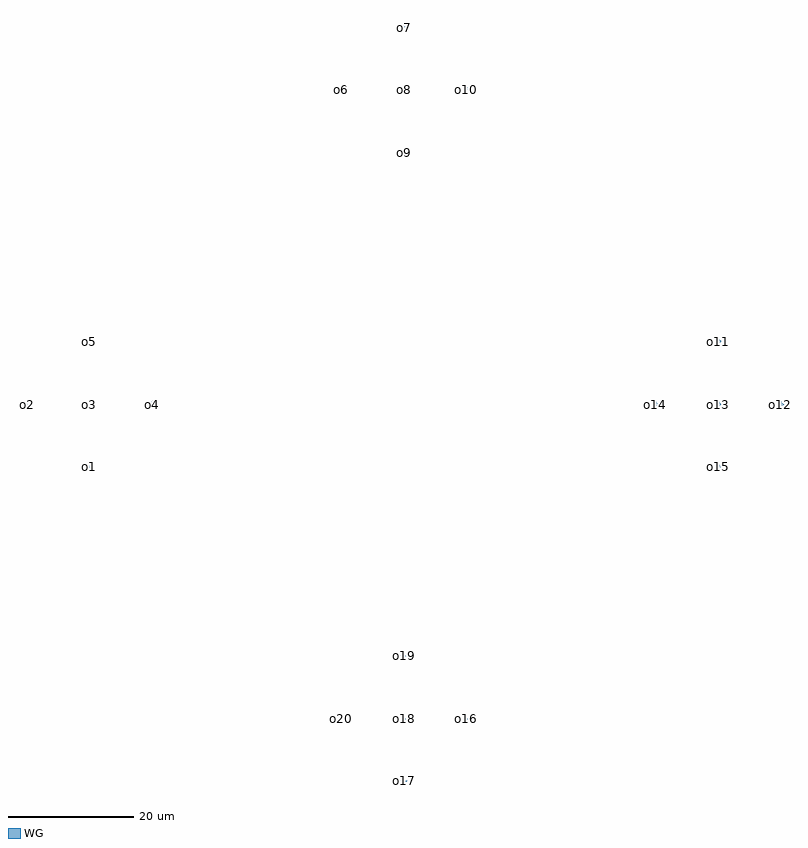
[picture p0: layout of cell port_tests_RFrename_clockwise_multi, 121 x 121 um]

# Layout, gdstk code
import gdstk
lib = gdstk.Library(unit=1e-6, precision=1e-09)
def P(c, l, *ps):  # polygons
    for p in ps: c.add(gdstk.Polygon(p, *l))
WG = (1, 0)

port_tests_rfrename_cloc = lib.new_cell('port_tests_RFrename_clockwise_multi')
P(port_tests_rfrename_cloc, WG, [(0,-60.5),(-0.45,-60.05),(-0.375,-60.05),(0,-60.43),(0,-60.05),(-0.45,-60.05),(-0.5,-60),(0.5,-60)],
  [(-10,-50.5),(-10.45,-50.05),(-10.375,-50.05),(-10,-50.43),(-10,-50.05),(-10.45,-50.05),(-10.5,-50),(-9.5,-50)],
  [(0,-50.5),(-0.45,-50.05),(-0.375,-50.05),(0,-50.43),(0,-50.05),(-0.45,-50.05),(-0.5,-50),(0.5,-50)],
  [(10,-50.5),(9.55,-50.05),(9.625,-50.05),(10,-50.43),(10,-50.05),(9.55,-50.05),(9.5,-50),(10.5,-50)],
  [(0,-40.5),(-0.45,-40.05),(-0.375,-40.05),(0,-40.43),(0,-40.05),(-0.45,-40.05),(-0.5,-40),(0.5,-40)],
  [(-50,-10.5),(-50.5,-10),(-50.125,-9.625),(-50.05,-9.625),(-50.43,-10),(-50.05,-10),(-50.05,-9.625),(-50.125,-9.625),(-50,-9.5)],
  [(-60,-0.5),(-60.5,0),(-60.125,0.375),(-60.05,0.375),(-60.43,0),(-60.05,0),(-60.05,0.375),(-60.125,0.375),(-60,0.5)],
  [(-50,-0.5),(-50.5,0),(-50.125,0.375),(-50.05,0.375),(-50.43,0),(-50.05,0),(-50.05,0.375),(-50.125,0.375),(-50,0.5)],
  [(-40,-0.5),(-40.5,0),(-40.125,0.375),(-40.05,0.375),(-40.43,0),(-40.05,0),(-40.05,0.375),(-40.125,0.375),(-40,0.5)],
  [(-50,9.5),(-50.5,10),(-50.125,10.375),(-50.05,10.375),(-50.43,10),(-50.05,10),(-50.05,10.375),(-50.125,10.375),(-50,10.5)],
  [(-0.5,40),(-0.07,40.43),(0,40.43),(0,40.05),(0.375,40.05),(0,40.43),(-0.07,40.43),(0,40.5),(0.5,40)],
  [(-10.5,50),(-10.07,50.43),(-10,50.43),(-10,50.05),(-9.625,50.05),(-10,50.43),(-10.07,50.43),(-10,50.5),(-9.5,50)],
  [(-0.5,50),(-0.07,50.43),(0,50.43),(0,50.05),(0.375,50.05),(0,50.43),(-0.07,50.43),(0,50.5),(0.5,50)],
  [(9.5,50),(9.93,50.43),(10,50.43),(10,50.05),(10.375,50.05),(10,50.43),(9.93,50.43),(10,50.5),(10.5,50)],
  [(-0.5,60),(-0.07,60.43),(0,60.43),(0,60.05),(0.375,60.05),(0,60.43),(-0.07,60.43),(0,60.5),(0.5,60)],
  [(50,-10.5),(50,-10),(50.05,-10),(50.05,-10.375),(50.43,-10),(50,-10),(50,-9.5),(50.5,-10)],
  [(40,-0.5),(40,0),(40.05,0),(40.05,-0.375),(40.43,0),(40,0),(40,0.5),(40.5,0)],
  [(50,-0.5),(50,0),(50.05,0),(50.05,-0.375),(50.43,0),(50,0),(50,0.5),(50.5,0)],
  [(60,-0.5),(60,0),(60.05,0),(60.05,-0.375),(60.43,0),(60,0),(60,0.5),(60.5,0)],
  [(50,9.5),(50,10),(50.05,10),(50.05,9.625),(50.43,10),(50,10),(50,10.5),(50.5,10)])
port_tests_rfrename_cloc.add(gdstk.Label('o17', (0,-60), layer=1, texttype=0))
port_tests_rfrename_cloc.add(gdstk.Label('o18', (0,-50), layer=1, texttype=0))
port_tests_rfrename_cloc.add(gdstk.Label('o19', (0,-40), layer=1, texttype=0))
port_tests_rfrename_cloc.add(gdstk.Label('o2', (-60,0), layer=1, texttype=0))
port_tests_rfrename_cloc.add(gdstk.Label('o1', (-50,-10), layer=1, texttype=0))
port_tests_rfrename_cloc.add(gdstk.Label('o14', (40,0), layer=1, texttype=0))
port_tests_rfrename_cloc.add(gdstk.Label('o15', (50,-10), layer=1, texttype=0))
port_tests_rfrename_cloc.add(gdstk.Label('o10', (10,50), layer=1, texttype=0))
port_tests_rfrename_cloc.add(gdstk.Label('o3', (-50,0), layer=1, texttype=0))
port_tests_rfrename_cloc.add(gdstk.Label('o9', (0,40), layer=1, texttype=0))
port_tests_rfrename_cloc.add(gdstk.Label('o13', (50,0), layer=1, texttype=0))
port_tests_rfrename_cloc.add(gdstk.Label('o11', (50,10), layer=1, texttype=0))
port_tests_rfrename_cloc.add(gdstk.Label('o12', (60,0), layer=1, texttype=0))
port_tests_rfrename_cloc.add(gdstk.Label('o16', (10,-50), layer=1, texttype=0))
port_tests_rfrename_cloc.add(gdstk.Label('o8', (0,50), layer=1, texttype=0))
port_tests_rfrename_cloc.add(gdstk.Label('o6', (-10,50), layer=1, texttype=0))
port_tests_rfrename_cloc.add(gdstk.Label('o7', (0,60), layer=1, texttype=0))
port_tests_rfrename_cloc.add(gdstk.Label('o20', (-10,-50), layer=1, texttype=0))
port_tests_rfrename_cloc.add(gdstk.Label('o4', (-40,0), layer=1, texttype=0))
port_tests_rfrename_cloc.add(gdstk.Label('o5', (-50,10), layer=1, texttype=0))

lib.write_gds('port_tests_RFrename_clockwise_multi.gds')
